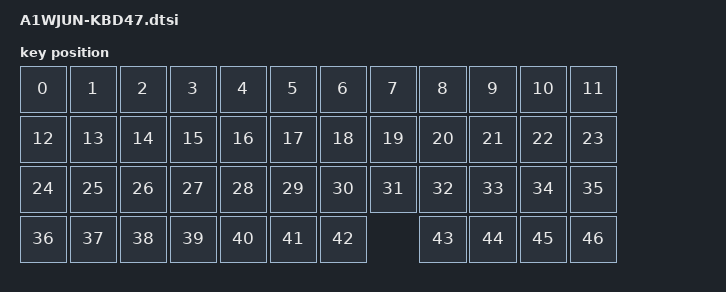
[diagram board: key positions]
#include <physical_layouts.dtsi>

/ {
    physical_layout0: physical_layout_0 {
        compatible = "zmk,physical-layout";
        display-name = "A1WJUN-KBD47";

        keys  //                     w   h    x    y     rot    rx    ry
            = <&key_physical_attrs 100 100    0    0       0     0     0>
            , <&key_physical_attrs 100 100  100    0       0     0     0>
            , <&key_physical_attrs 100 100  200    0       0     0     0>
            , <&key_physical_attrs 100 100  300    0       0     0     0>
            , <&key_physical_attrs 100 100  400    0       0     0     0>
            , <&key_physical_attrs 100 100  500    0       0     0     0>
            , <&key_physical_attrs 100 100  600    0       0     0     0>
            , <&key_physical_attrs 100 100  700    0       0     0     0>
            , <&key_physical_attrs 100 100  800    0       0     0     0>
            , <&key_physical_attrs 100 100  900    0       0     0     0>
            , <&key_physical_attrs 100 100 1000    0       0     0     0>
            , <&key_physical_attrs 100 100 1100    0       0     0     0>
            , <&key_physical_attrs 100 100    0  100       0     0     0>
            , <&key_physical_attrs 100 100  100  100       0     0     0>
            , <&key_physical_attrs 100 100  200  100       0     0     0>
            , <&key_physical_attrs 100 100  300  100       0     0     0>
            , <&key_physical_attrs 100 100  400  100       0     0     0>
            , <&key_physical_attrs 100 100  500  100       0     0     0>
            , <&key_physical_attrs 100 100  600  100       0     0     0>
            , <&key_physical_attrs 100 100  700  100       0     0     0>
            , <&key_physical_attrs 100 100  800  100       0     0     0>
            , <&key_physical_attrs 100 100  900  100       0     0     0>
            , <&key_physical_attrs 100 100 1000  100       0     0     0>
            , <&key_physical_attrs 100 100 1100  100       0     0     0>
            , <&key_physical_attrs 100 100    0  200       0     0     0>
            , <&key_physical_attrs 100 100  100  200       0     0     0>
            , <&key_physical_attrs 100 100  200  200       0     0     0>
            , <&key_physical_attrs 100 100  300  200       0     0     0>
            , <&key_physical_attrs 100 100  400  200       0     0     0>
            , <&key_physical_attrs 100 100  500  200       0     0     0>
            , <&key_physical_attrs 100 100  600  200       0     0     0>
            , <&key_physical_attrs 100 100  700  200       0     0     0>
            , <&key_physical_attrs 100 100  800  200       0     0     0>
            , <&key_physical_attrs 100 100  900  200       0     0     0>
            , <&key_physical_attrs 100 100 1000  200       0     0     0>
            , <&key_physical_attrs 100 100 1100  200       0     0     0>
            , <&key_physical_attrs 100 100    0  300       0     0     0>
            , <&key_physical_attrs 100 100  100  300       0     0     0>
            , <&key_physical_attrs 100 100  200  300       0     0     0>
            , <&key_physical_attrs 100 100  300  300       0     0     0>
            , <&key_physical_attrs 100 100  400  300       0     0     0>
            , <&key_physical_attrs 100 100  500  300       0     0     0>
            , <&key_physical_attrs 100 100  600  300       0     0     0>
            // 第 4 行跳过 x=700（PCB 上该位置无物理键），对应 matrix_transform 跳过 RC(3,7)
            // 物理布局与矩阵变换保持一致，避免逻辑键索引错位
            , <&key_physical_attrs 100 100  800  300       0     0     0>
            , <&key_physical_attrs 100 100  900  300       0     0     0>
            , <&key_physical_attrs 100 100 1000  300       0     0     0>
            , <&key_physical_attrs 100 100 1100  300       0     0     0>
            ;
    };
};
